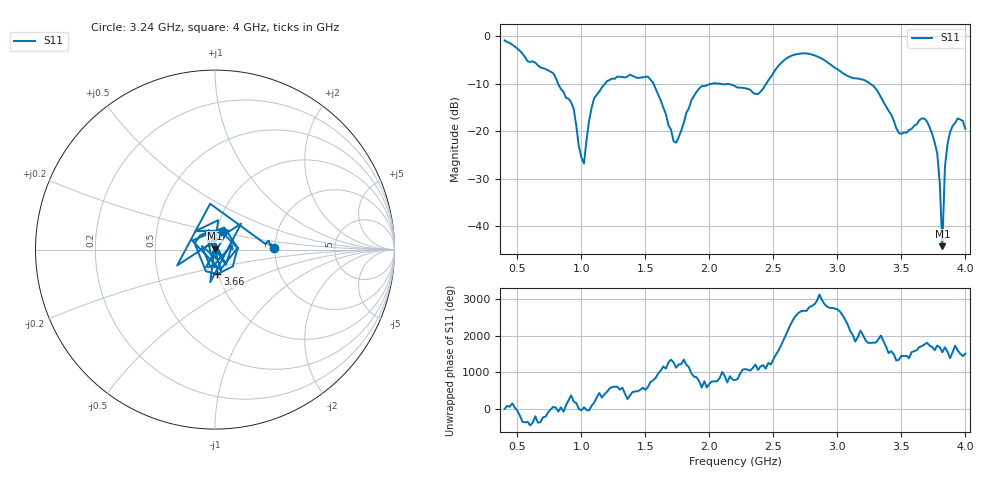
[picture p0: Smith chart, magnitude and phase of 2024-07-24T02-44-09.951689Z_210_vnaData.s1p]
!Created with skrf (http://scikit-rf.org).
# Hz S RI R 50.0
!freq ReS11 ImS11
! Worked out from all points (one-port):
!   181 points, 400 MHz to 4 GHz, reference 50 ohm
!   lowest |S11| = -44.2 dB at 3.82 GHz (marker M1), VSWR 1.01, Z = 49.8 + j0.591 ohm
!   |S11| at or under -10 dB: 818.5 MHz to 1.184 GHz (365.2 MHz wide, 36.5 % of centre); 1.564 GHz to 2.012 GHz (447.6 MHz wide, 25 % of centre); 3.259 GHz to end of sweep (the widest 3 of 5)
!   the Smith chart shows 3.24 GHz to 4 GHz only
!   S11 on the Smith chart (normalised r, x): 3.24 GHz: 1.99, +0.05; 3.66 GHz: 0.99, -0.27; 4 GHz: 1.06, +0.21
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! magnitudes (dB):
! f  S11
! 400 MHz  -0.8
! 780 MHz  -7.7
! 860 MHz  -11.7
! 940 MHz  -15.3
! 980 MHz  -23.1
! 1.02 GHz  -26.8
! 1.06 GHz  -17.8
! 1.1 GHz  -13.0
! 1.3 GHz  -8.5
! 1.52 GHz  -8.5
! 1.72 GHz  -22.1
! 1.76 GHz  -21.2
! 1.94 GHz  -10.4
! 2.2 GHz  -10.5
! 2.38 GHz  -12.1
! 2.66 GHz  -3.9
! 3.1 GHz  -8.5
! 3.24 GHz  -9.6
! 3.48 GHz  -20.3
! 3.56 GHz  -19.7
! 3.66 GHz  -17.3
! 3.78 GHz  -24.6
! 3.8 GHz  -31.0
! 3.82 GHz  -44.2
! 3.84 GHz  -27.5
! 3.86 GHz  -22.7
! 3.94 GHz  -17.3
! 4 GHz  -19.5
